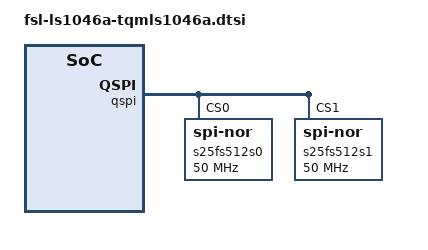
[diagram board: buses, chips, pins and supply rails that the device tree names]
// SPDX-License-Identifier: (GPL-2.0-or-later OR MIT)
/*
 * Copyright (c) 2023 TQ-Systems GmbH <u-boot@ew.tq-group.com>,
 * D-82229 Seefeld, Germany.
 * Author: Gregor Herburger
 */

#include "fsl-tqmls10xxa.dtsi"

&qspi {
	status = "okay";

	s25fs512s0: flash@0 {
		#address-cells = <1>;
		#size-cells = <1>;
		compatible = "jedec,spi-nor";
		spi-max-frequency = <50000000>;
		reg = <0>;
	};

	s25fs512s1: flash@1 {
		#address-cells = <1>;
		#size-cells = <1>;
		compatible = "jedec,spi-nor";
		spi-max-frequency = <50000000>;
		reg = <1>;
	 };
};
